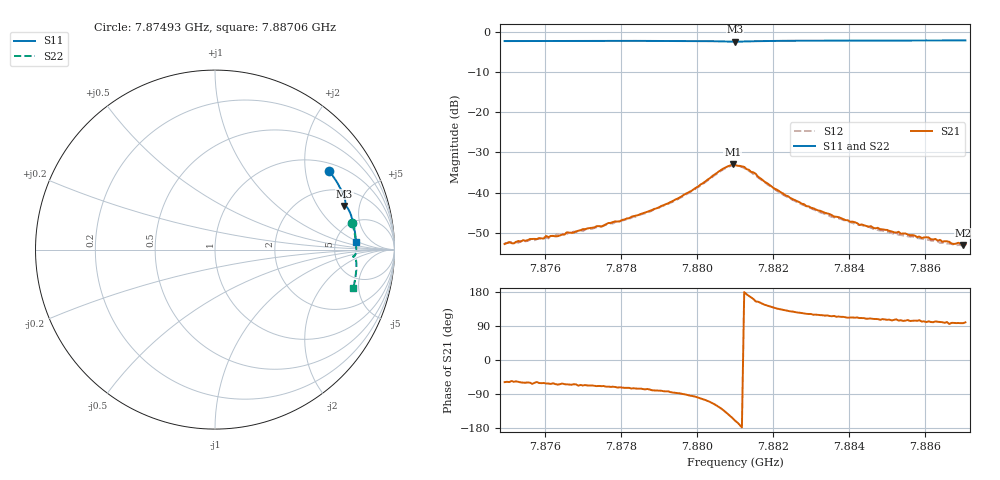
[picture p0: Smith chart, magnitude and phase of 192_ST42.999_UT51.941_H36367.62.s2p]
#  HZ  S  DB  R  50.00
! Rohde & Schwarz Vector Network Analyzer
! Rohde-Schwarz,ZNB20-2Port,1311601062101988,3.16
! Created: UTC 1/12/2023, 6:43:39 PM
! freq[Hz]  db:S11  ang:S11  db:S21  ang:S21  db:S12  ang:S12  db:S22  ang:S22
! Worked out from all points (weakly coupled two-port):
!   201 points, 7.87493 GHz to 7.88706 GHz, reference 50 ohm
!   highest |S21| = -32.99 dB at 7.88093 GHz (marker M1); lowest = -53.0 dB at 7.887 GHz (marker M2)
!   lowest |S11| = -2.4 dB at 7.88099 GHz (marker M3), VSWR 7.37, Z = 153 + j178 ohm
!   |S11| at or under -10 dB: nowhere
!   |S22| runs from -2.3 to -1.9 dB; largest |S21 - S12| = 0.0018
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7.874929e9  -2.23 34.7  -52.84 -58.5  -52.68 -60.0  -2.18 10.8
7.87596e9  -2.22 31.9  -51.49 -60.8  -51.26 -65.1  -2.15 8.3
7.876021e9  -2.22 31.7  -50.83 -61.9  -51.23 -65.1  -2.14 8.2
7.876082e9  -2.21 31.5  -51.14 -62.2  -51.43 -64.4  -2.14 8.1
7.876142e9  -2.21 31.3  -50.84 -63.1  -50.77 -64.2  -2.14 7.9
7.876324e9  -2.21 30.9  -50.90 -64.9  -50.33 -65.3  -2.14 7.5
7.876627e9  -2.21 30.0  -50.02 -64.7  -50.42 -68.2  -2.13 6.7
7.876749e9  -2.20 29.7  -50.00 -63.9  -49.72 -68.3  -2.12 6.5
7.876991e9  -2.20 29.1  -49.13 -67.3  -49.62 -70.0  -2.12 5.9
7.877962e9  -2.19 26.4  -47.19 -72.1  -47.20 -75.6  -2.09 3.7
7.878993e9  -2.18 23.5  -43.70 -80.8  -43.78 -83.9  -2.08 1.2
7.879842e9  -2.20 21.1  -39.63 -94.7  -39.71 -97.6  -2.09 -0.9
7.880631e9  -2.31 18.9  -34.37 -128.0  -34.55 -131.6  -2.20 -2.8
7.880934e9  -2.37 18.7  -32.99 -153.8  -33.31 -157.4  -2.26 -2.9
7.880994e9  -2.37 18.7  -33.12 -159.9  -33.26 -163.1  -2.27 -2.9
7.881237e9  -2.33 18.6  -33.62 179.3  -33.91 174.5  -2.23 -2.8
7.882329e9  -2.16 15.8  -40.72 130.7  -40.88 126.9  -2.04 -5.1
7.883057e9  -2.14 13.7  -43.94 119.3  -44.21 117.4  -2.01 -6.8
7.88427e9  -2.11 10.5  -48.09 110.8  -48.09 108.2  -1.98 -9.6
7.885058e9  -2.10 8.4  -49.58 106.7  -49.94 103.3  -1.96 -11.4
7.886999e9  -2.08 3.3  -53.05 97.3  -53.38 92.5  -1.94 -15.6
7.88706e9  -2.08 3.1  -52.93 99.3  -53.24 91.8  -1.94 -15.7
